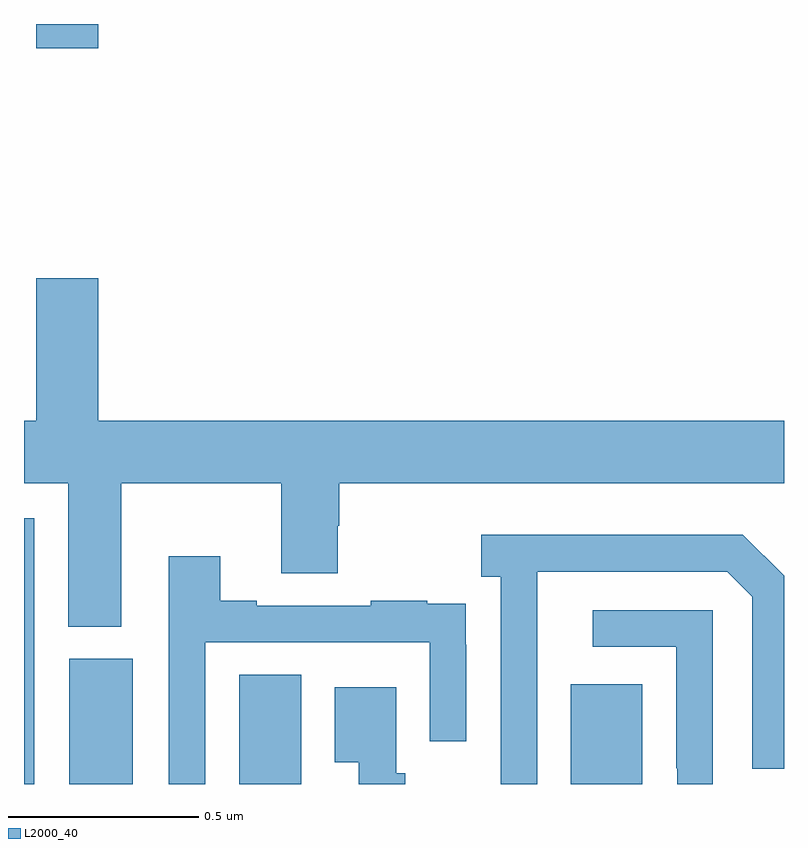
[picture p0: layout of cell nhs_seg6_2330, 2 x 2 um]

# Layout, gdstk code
import gdstk
lib = gdstk.Library(unit=1e-6, precision=1e-09)
def R(c, l, rs):  # rectangles x0, y0, x1, y1
    for r in rs: c.add(gdstk.rectangle(r[:2], r[2:], *l))
def P(c, l, *ps):  # polygons
    for p in ps: c.add(gdstk.Polygon(p, *l))
L2000_40 = (2000, 40)

nhs_seg6_2330 = lib.new_cell('nhs_seg6_2330')
R(nhs_seg6_2330, L2000_40, [(141,990.5,141.027,991.2), (141.119,990.5,141.286,990.829), (141.566,990.5,141.73,990.788), (142.439,990.5,142.627,990.763), (141.032,992.436,141.196,992.5)])
P(nhs_seg6_2330, L2000_40, [(141.196,991.831),(141.032,991.831),(141.032,991.456),(141,991.456),(141,991.292),(141.116,991.292),(141.116,990.914),(141.256,990.914),(141.256,991.292),(141.677,991.292),(141.677,991.054),(141.825,991.054),(141.825,991.179),(141.83,991.179),(141.83,991.292),(143,991.292),(143,991.456),(141.196,991.456)],
  [(142.35,990.859),(142.351,990.859),(142.351,991.059),(142.851,991.059),(142.917,990.993),(142.917,990.54),(143,990.54),(143,991.048),(142.892,991.156),(142.203,991.156),(142.203,991.046),(142.254,991.046),(142.254,990.5),(142.35,990.5)],
  [(141.477,990.873),(142.068,990.873),(142.068,990.612),(142.164,990.612),(142.164,990.866),(142.163,990.866),(142.163,990.975),(142.061,990.975),(142.061,990.982),(141.913,990.982),(141.913,990.969),(141.613,990.969),(141.613,990.982),(141.517,990.982),(141.517,991.099),(141.381,991.099),(141.381,990.5),(141.477,990.5)],
  [(142.812,990.957),(142.497,990.957),(142.497,990.861),(142.716,990.861),(142.716,990.541),(142.719,990.541),(142.719,990.5),(142.812,990.5)],
  [(142.003,990.528),(141.979,990.528),(141.979,990.754),(141.818,990.754),(141.818,990.557),(141.881,990.557),(141.881,990.5),(142.003,990.5)])

lib.write_gds('nhs_seg6_2330.gds')
